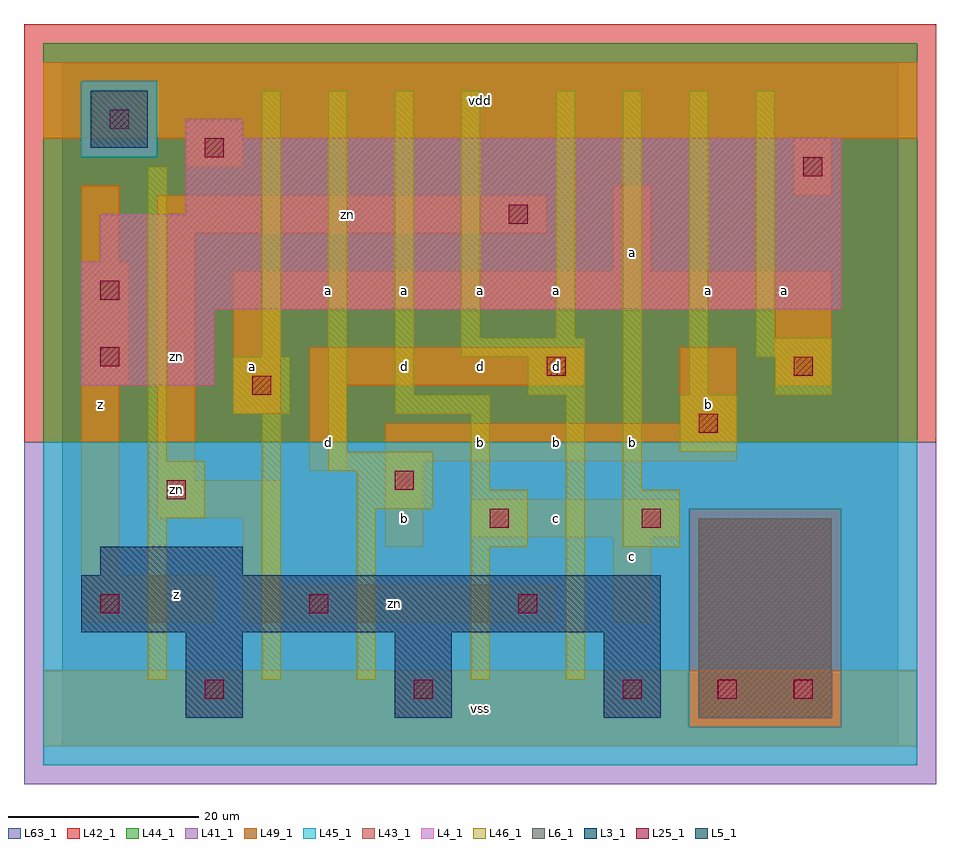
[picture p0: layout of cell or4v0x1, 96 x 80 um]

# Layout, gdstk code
import gdstk
lib = gdstk.Library(unit=1e-6, precision=1e-09)
def R(c, l, rs):  # rectangles x0, y0, x1, y1
    for r in rs: c.add(gdstk.rectangle(r[:2], r[2:], *l))
def A(c, l, x, y, w, h, nx, ny, dx, dy):  # array of equal rectangles
    R(c, l, [(x+i*dx, y+j*dy, x+i*dx+w, y+j*dy+h) for i in range(nx) for j in range(ny)])
L3_1 = (3, 1)
L4_1 = (4, 1)
L5_1 = (5, 1)
L6_1 = (6, 1)
L25_1 = (25, 1)
L41_1 = (41, 1)
L42_1 = (42, 1)
L43_1 = (43, 1)
L44_1 = (44, 1)
L45_1 = (45, 1)
L46_1 = (46, 1)
L49_1 = (49, 1)
L63_1 = (63, 1)

or4v0x1 = lib.new_cell('or4v0x1')
A(or4v0x1, L3_1, 13, 3, 6, 9, 3, 1, 22, 0)
R(or4v0x1, L3_1, [(2,12,63,18), (4,18,19,21)])
R(or4v0x1, L4_1, [(2,38,16,46), (2,46,82,51), (4,51,82,56), (13,56,82,64), (13,64,19,66)])
R(or4v0x1, L5_1, [(3,63,9,69)])
R(or4v0x1, L6_1, [(67,3,81,24), (67,3,81,24)])
A(or4v0x1, L25_1, 15, 5, 2, 2, 3, 1, 22, 0)
A(or4v0x1, L25_1, 4, 14, 2, 2, 3, 1, 22, 0)
R(or4v0x1, L25_1, [(69,5,71,7), (77,5,79,7), (45,23,47,25), (61,23,63,25), (11,26,13,28), (35,27,37,29), (67,33,69,35), (20,37,22,39), (51,39,53,41), (77,39,79,41), (4,40,6,42), (4,47,6,49), (47,55,49,57), (78,60,80,62), (15,62,17,64), (5,65,7,67)])
R(or4v0x1, L41_1, [(-4,-4,92,32)])
R(or4v0x1, L42_1, [(-4,32,92,76)])
A(or4v0x1, L43_1, 13, 3, 6, 9, 3, 1, 22, 0)
R(or4v0x1, L43_1, [(67,3,81,24), (2,12,63,18), (4,18,19,21), (2,38,16,46), (2,46,82,51), (4,51,82,56), (13,56,82,64), (3,63,9,69), (13,64,19,66)])
R(or4v0x1, L44_1, [(66,2,82,25), (-2,32,90,62), (-2,62,2,70), (10,62,90,70), (-2,70,90,74)])
R(or4v0x1, L45_1, [(-2,-2,90,2), (-2,2,66,25), (82,2,90,25), (-2,25,90,32), (2,62,10,70)])
R(or4v0x1, L46_1, [(9,7,11,24), (21,7,23,35), (31,7,33,25), (43,7,45,21), (53,7,55,37), (43,21,49,27), (59,21,65,27), (9,24,15,30), (31,25,39,29), (43,27,45,35), (59,27,61,69), (28,29,39,31), (9,30,11,61), (28,31,30,69), (65,31,71,37), (18,35,24,41), (35,35,45,37), (35,37,37,69), (49,37,55,41), (66,37,68,69), (75,37,81,41), (21,41,23,69), (42,41,55,43), (73,41,81,43), (42,43,44,69), (52,43,54,69), (73,43,75,69)])
R(or4v0x1, L49_1, [(-2,0,90,8), (2,13,16,18), (19,13,52,17), (58,13,62,22), (19,17,23,24), (2,18,6,38), (34,21,38,30), (43,22,65,26), (10,24,23,28), (10,28,14,54), (26,29,30,38), (34,30,71,34), (65,34,71,42), (18,35,23,46), (2,38,7,51), (26,38,55,42), (75,38,81,46), (18,46,81,50), (58,50,62,59), (2,51,6,59), (10,54,51,58), (77,58,81,64), (13,61,19,64), (-2,64,90,72)])
R(or4v0x1, L63_1, [(0,0,88,72)])
or4v0x1.add(gdstk.Label('zn', (12,27), layer=49, texttype=1))
or4v0x1.add(gdstk.Label('z', (12,16), layer=49, texttype=1))
or4v0x1.add(gdstk.Label('z', (4,36), layer=49, texttype=1))
or4v0x1.add(gdstk.Label('zn', (12,41), layer=49, texttype=1))
or4v0x1.add(gdstk.Label('d', (28,32), layer=49, texttype=1))
or4v0x1.add(gdstk.Label('a', (20,40), layer=49, texttype=1))
or4v0x1.add(gdstk.Label('a', (28,48), layer=49, texttype=1))
or4v0x1.add(gdstk.Label('vss', (44,4), layer=49, texttype=1))
or4v0x1.add(gdstk.Label('zn', (35,15), layer=49, texttype=1))
or4v0x1.add(gdstk.Label('b', (36,24), layer=49, texttype=1))
or4v0x1.add(gdstk.Label('b', (44,32), layer=49, texttype=1))
or4v0x1.add(gdstk.Label('d', (36,40), layer=49, texttype=1))
or4v0x1.add(gdstk.Label('d', (44,40), layer=49, texttype=1))
or4v0x1.add(gdstk.Label('a', (36,48), layer=49, texttype=1))
or4v0x1.add(gdstk.Label('a', (44,48), layer=49, texttype=1))
or4v0x1.add(gdstk.Label('zn', (30,56), layer=49, texttype=1))
or4v0x1.add(gdstk.Label('vdd', (44,68), layer=49, texttype=1))
or4v0x1.add(gdstk.Label('c', (52,24), layer=49, texttype=1))
or4v0x1.add(gdstk.Label('c', (60,20), layer=49, texttype=1))
or4v0x1.add(gdstk.Label('b', (60,32), layer=49, texttype=1))
or4v0x1.add(gdstk.Label('b', (52,32), layer=49, texttype=1))
or4v0x1.add(gdstk.Label('d', (52,40), layer=49, texttype=1))
or4v0x1.add(gdstk.Label('b', (68,36), layer=49, texttype=1))
or4v0x1.add(gdstk.Label('a', (52,48), layer=49, texttype=1))
or4v0x1.add(gdstk.Label('a', (60,52), layer=49, texttype=1))
or4v0x1.add(gdstk.Label('a', (68,48), layer=49, texttype=1))
or4v0x1.add(gdstk.Label('a', (76,48), layer=49, texttype=1))

lib.write_gds('or4v0x1.gds')
